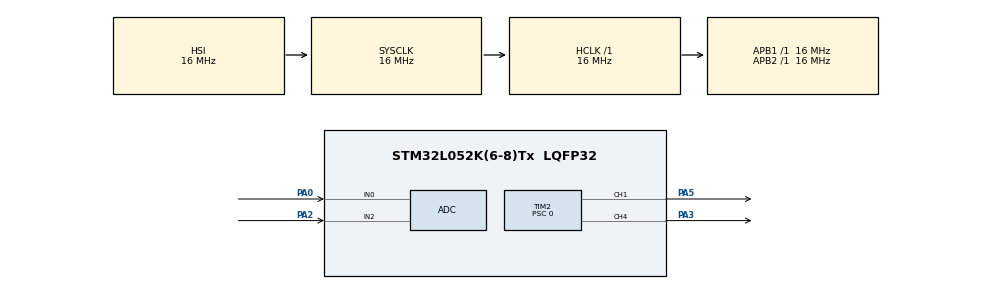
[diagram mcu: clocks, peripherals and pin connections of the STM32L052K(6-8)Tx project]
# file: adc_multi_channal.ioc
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ADC.ContinuousConvMode=ENABLE
Dma.ADC.1.Direction=DMA_PERIPH_TO_MEMORY
Dma.ADC.1.Instance=DMA1_Channel1
Dma.ADC.1.MemDataAlignment=DMA_MDATAALIGN_HALFWORD
Dma.ADC.1.MemInc=DMA_MINC_ENABLE
Dma.ADC.1.Mode=DMA_CIRCULAR
Dma.ADC.1.PeriphDataAlignment=DMA_PDATAALIGN_HALFWORD
Dma.ADC.1.PeriphInc=DMA_PINC_DISABLE
Dma.ADC.1.Priority=DMA_PRIORITY_LOW
Dma.Request0=TIM2_CH1
Dma.Request1=ADC
Dma.Request2=TIM2_CH2/CH4
Dma.TIM2_CH1.0.Direction=DMA_PERIPH_TO_MEMORY
Dma.TIM2_CH1.0.Instance=DMA1_Channel5
Dma.TIM2_CH1.0.MemDataAlignment=DMA_MDATAALIGN_HALFWORD
Dma.TIM2_CH1.0.MemInc=DMA_MINC_ENABLE
Dma.TIM2_CH1.0.Mode=DMA_CIRCULAR
Dma.TIM2_CH1.0.PeriphDataAlignment=DMA_PDATAALIGN_HALFWORD
Dma.TIM2_CH1.0.PeriphInc=DMA_PINC_DISABLE
Dma.TIM2_CH1.0.Priority=DMA_PRIORITY_LOW
Dma.TIM2_CH2/CH4.2.Direction=DMA_PERIPH_TO_MEMORY
Dma.TIM2_CH2/CH4.2.Instance=DMA1_Channel7
Dma.TIM2_CH2/CH4.2.MemDataAlignment=DMA_MDATAALIGN_HALFWORD
Dma.TIM2_CH2/CH4.2.MemInc=DMA_MINC_ENABLE
Dma.TIM2_CH2/CH4.2.Mode=DMA_CIRCULAR
Dma.TIM2_CH2/CH4.2.PeriphDataAlignment=DMA_PDATAALIGN_HALFWORD
Dma.TIM2_CH2/CH4.2.PeriphInc=DMA_PINC_DISABLE
Dma.TIM2_CH2/CH4.2.Priority=DMA_PRIORITY_LOW
Mcu.Family=STM32L0
Mcu.Name=STM32L052K(6-8)Tx
Mcu.Package=LQFP32
NVIC.DMA1_Channel1_IRQn=true\:0\:0\:false\:false\:true\:false\:true\:true
NVIC.DMA1_Channel4_5_6_7_IRQn=true\:0\:0\:false\:false\:true\:false\:true\:true
PA0.Mode=IN0
PA0.Signal=ADC_IN0
PA13.Mode=Serial_Wire
PA13.Signal=SYS_SWDIO
PA14.Mode=Serial_Wire
PA14.Signal=SYS_SWCLK
PA2.Mode=IN2
PA2.Signal=ADC_IN2
PA3.Signal=S_TIM2_CH4
PA5.Signal=S_TIM2_CH1
ProjectManager.HeapSize=0x200
ProjectManager.StackSize=0x400
ProjectManager.TargetToolchain=STM32CubeIDE
RCC.AHBFreq_Value=16000000
RCC.APB1Freq_Value=16000000
RCC.APB1TimFreq_Value=16000000
RCC.APB2Freq_Value=16000000
RCC.APB2TimFreq_Value=16000000
RCC.HCLKFreq_Value=16000000
RCC.HSI16_VALUE=16000000
RCC.HSI48_VALUE=48000000
RCC.HSI_VALUE=16000000
RCC.LSE_VALUE=32768
RCC.MSI_VALUE=2097000
RCC.SYSCLKFreq_VALUE=16000000
RCC.SYSCLKSource=RCC_SYSCLKSOURCE_HSI
RCC.VCOOutputFreq_Value=48000000
SH.S_TIM2_CH1.0=TIM2_CH1,PWM Generation1 CH1
SH.S_TIM2_CH4.0=TIM2_CH4,PWM Generation4 CH4
TIM2.AutoReloadPreload=TIM_AUTORELOAD_PRELOAD_ENABLE
TIM2.Channel-PWM\ Generation1\ CH1=TIM_CHANNEL_1
TIM2.Channel-PWM\ Generation4\ CH4=TIM_CHANNEL_4
TIM2.Prescaler=0
TIM2.Pulse-PWM\ Generation1\ CH1=0
VP_TIM2_VS_ClockSourceINT.Mode=Internal
board=custom

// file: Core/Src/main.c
/* USER CODE BEGIN Header */
/**
  ******************************************************************************
  * @file           : main.c
  * @brief          : Main program body
  ******************************************************************************
  * @attention
  *
  * Copyright (c) 2022 STMicroelectronics.
  * All rights reserved.
  *
  * This software is licensed under terms that can be found in the LICENSE file
  * in the root directory of this software component.
  * If no LICENSE file comes with this software, it is provided AS-IS.
  *
  ******************************************************************************
  */
/* USER CODE END Header */
#include "main.h"

ADC_HandleTypeDef hadc;
DMA_HandleTypeDef hdma_adc;

TIM_HandleTypeDef htim2;
DMA_HandleTypeDef hdma_tim2_ch1;
DMA_HandleTypeDef hdma_tim2_ch2_ch4;

/* USER CODE BEGIN PV */
uint16_t vr_val[2];
uint16_t pwm_val[2];
uint8_t scan = 0;
/* USER CODE END PV */

void SystemClock_Config(void);
static void MX_GPIO_Init(void);
static void MX_DMA_Init(void);
static void MX_ADC_Init(void);
static void MX_TIM2_Init(void);

/* USER CODE BEGIN 0 */
void HAL_IncTick(void)
{
  uwTick += uwTickFreq;
  if(uwTick % 200 == 0){
  		scan = SET;
  }
}
/* USER CODE END 0 */

int main(void)
{

  /* MCU Configuration--------------------------------------------------------*/

  /* Reset of all peripherals, Initializes the Flash interface and the Systick. */
  HAL_Init();

  /* Configure the system clock */
  SystemClock_Config();

  /* Initialize all configured peripherals */
  MX_GPIO_Init();
  MX_DMA_Init();
  MX_ADC_Init();
  MX_TIM2_Init();
  /* USER CODE BEGIN 2 */
  HAL_ADC_Start_DMA(&hadc, (uint32_t *)vr_val, 2);

  HAL_TIM_PWM_Start_DMA(&htim2, TIM_CHANNEL_1, (uint32_t *)&pwm_val[0], 1);
  HAL_TIM_PWM_Start_DMA(&htim2, TIM_CHANNEL_4, (uint32_t *)&pwm_val[1], 1);
  /* USER CODE END 2 */

  /* Infinite loop */
  while (1)
  {

    /* USER CODE BEGIN 3 */
  		if(scan == SET){
  	  				scan = RESET;
  	  				HAL_ADC_Start_DMA(&hadc, (uint32_t *)vr_val, 2);
  	  				pwm_val[0] = vr_val[0] << 4;
  	  				pwm_val[1] = vr_val[1] << 4;
  	  				HAL_TIM_PWM_Start_DMA(&htim2, TIM_CHANNEL_1, (uint32_t *)&pwm_val[0], 1);
  	  				HAL_TIM_PWM_Start_DMA(&htim2, TIM_CHANNEL_4, (uint32_t *)&pwm_val[1], 1);
  	  		}
  	  		__NOP();
  }
  /* USER CODE END 3 */
}

void SystemClock_Config(void)
{
  RCC_OscInitTypeDef RCC_OscInitStruct = {0};
  RCC_ClkInitTypeDef RCC_ClkInitStruct = {0};

  /** Configure the main internal regulator output voltage
  */
  __HAL_PWR_VOLTAGESCALING_CONFIG(PWR_REGULATOR_VOLTAGE_SCALE1);

  /** Initializes the RCC Oscillators according to the specified parameters
  * in the RCC_OscInitTypeDef structure.
  */
  RCC_OscInitStruct.OscillatorType = RCC_OSCILLATORTYPE_HSI;
  RCC_OscInitStruct.HSIState = RCC_HSI_ON;
  RCC_OscInitStruct.HSICalibrationValue = RCC_HSICALIBRATION_DEFAULT;
  RCC_OscInitStruct.PLL.PLLState = RCC_PLL_NONE;
  if (HAL_RCC_OscConfig(&RCC_OscInitStruct) != HAL_OK)
  {
    Error_Handler();
  }

  /** Initializes the CPU, AHB and APB buses clocks
  */
  RCC_ClkInitStruct.ClockType = RCC_CLOCKTYPE_HCLK|RCC_CLOCKTYPE_SYSCLK
                              |RCC_CLOCKTYPE_PCLK1|RCC_CLOCKTYPE_PCLK2;
  RCC_ClkInitStruct.SYSCLKSource = RCC_SYSCLKSOURCE_HSI;
  RCC_ClkInitStruct.AHBCLKDivider = RCC_SYSCLK_DIV1;
  RCC_ClkInitStruct.APB1CLKDivider = RCC_HCLK_DIV1;
  RCC_ClkInitStruct.APB2CLKDivider = RCC_HCLK_DIV1;

  if (HAL_RCC_ClockConfig(&RCC_ClkInitStruct, FLASH_LATENCY_0) != HAL_OK)
  {
    Error_Handler();
  }
}

static void MX_ADC_Init(void)
{

  ADC_ChannelConfTypeDef sConfig = {0};

  /** Configure the global features of the ADC (Clock, Resolution, Data Alignment and number of conversion)
  */
  hadc.Instance = ADC1;
  hadc.Init.OversamplingMode = DISABLE;
  hadc.Init.ClockPrescaler = ADC_CLOCK_SYNC_PCLK_DIV1;
  hadc.Init.Resolution = ADC_RESOLUTION_12B;
  hadc.Init.SamplingTime = ADC_SAMPLETIME_1CYCLE_5;
  hadc.Init.ScanConvMode = ADC_SCAN_DIRECTION_FORWARD;
  hadc.Init.DataAlign = ADC_DATAALIGN_RIGHT;
  hadc.Init.ContinuousConvMode = ENABLE;
  hadc.Init.DiscontinuousConvMode = DISABLE;
  hadc.Init.ExternalTrigConvEdge = ADC_EXTERNALTRIGCONVEDGE_NONE;
  hadc.Init.ExternalTrigConv = ADC_SOFTWARE_START;
  hadc.Init.DMAContinuousRequests = DISABLE;
  hadc.Init.EOCSelection = ADC_EOC_SINGLE_CONV;
  hadc.Init.Overrun = ADC_OVR_DATA_PRESERVED;
  hadc.Init.LowPowerAutoWait = DISABLE;
  hadc.Init.LowPowerFrequencyMode = DISABLE;
  hadc.Init.LowPowerAutoPowerOff = DISABLE;
  if (HAL_ADC_Init(&hadc) != HAL_OK)
  {
    Error_Handler();
  }

  /** Configure for the selected ADC regular channel to be converted.
  */
  sConfig.Channel = ADC_CHANNEL_0;
  sConfig.Rank = ADC_RANK_CHANNEL_NUMBER;
  if (HAL_ADC_ConfigChannel(&hadc, &sConfig) != HAL_OK)
  {
    Error_Handler();
  }

  /** Configure for the selected ADC regular channel to be converted.
  */
  sConfig.Channel = ADC_CHANNEL_2;
  if (HAL_ADC_ConfigChannel(&hadc, &sConfig) != HAL_OK)
  {
    Error_Handler();
  }

}

static void MX_TIM2_Init(void)
{

  TIM_ClockConfigTypeDef sClockSourceConfig = {0};
  TIM_MasterConfigTypeDef sMasterConfig = {0};
  TIM_OC_InitTypeDef sConfigOC = {0};

  htim2.Instance = TIM2;
  htim2.Init.Prescaler = 0;
  htim2.Init.CounterMode = TIM_COUNTERMODE_UP;
  htim2.Init.Period = 65535;
  htim2.Init.ClockDivision = TIM_CLOCKDIVISION_DIV1;
  htim2.Init.AutoReloadPreload = TIM_AUTORELOAD_PRELOAD_ENABLE;
  if (HAL_TIM_Base_Init(&htim2) != HAL_OK)
  {
    Error_Handler();
  }
  sClockSourceConfig.ClockSource = TIM_CLOCKSOURCE_INTERNAL;
  if (HAL_TIM_ConfigClockSource(&htim2, &sClockSourceConfig) != HAL_OK)
  {
    Error_Handler();
  }
  if (HAL_TIM_PWM_Init(&htim2) != HAL_OK)
  {
    Error_Handler();
  }
  sMasterConfig.MasterOutputTrigger = TIM_TRGO_RESET;
  sMasterConfig.MasterSlaveMode = TIM_MASTERSLAVEMODE_DISABLE;
  if (HAL_TIMEx_MasterConfigSynchronization(&htim2, &sMasterConfig) != HAL_OK)
  {
    Error_Handler();
  }
  sConfigOC.OCMode = TIM_OCMODE_PWM1;
  sConfigOC.Pulse = 0;
  sConfigOC.OCPolarity = TIM_OCPOLARITY_HIGH;
  sConfigOC.OCFastMode = TIM_OCFAST_DISABLE;
  if (HAL_TIM_PWM_ConfigChannel(&htim2, &sConfigOC, TIM_CHANNEL_1) != HAL_OK)
  {
    Error_Handler();
  }
  if (HAL_TIM_PWM_ConfigChannel(&htim2, &sConfigOC, TIM_CHANNEL_4) != HAL_OK)
  {
    Error_Handler();
  }
  HAL_TIM_MspPostInit(&htim2);

}

static void MX_DMA_Init(void)
{

  /* DMA controller clock enable */
  __HAL_RCC_DMA1_CLK_ENABLE();

  /* DMA interrupt init */
  /* DMA1_Channel1_IRQn interrupt configuration */
  HAL_NVIC_SetPriority(DMA1_Channel1_IRQn, 0, 0);
  HAL_NVIC_EnableIRQ(DMA1_Channel1_IRQn);
  /* DMA1_Channel4_5_6_7_IRQn interrupt configuration */
  HAL_NVIC_SetPriority(DMA1_Channel4_5_6_7_IRQn, 0, 0);
  HAL_NVIC_EnableIRQ(DMA1_Channel4_5_6_7_IRQn);

}

static void MX_GPIO_Init(void)
{

  /* GPIO Ports Clock Enable */
  __HAL_RCC_GPIOA_CLK_ENABLE();

}

void Error_Handler(void)
{
  __disable_irq();
  while (1)
  {
  }
}
